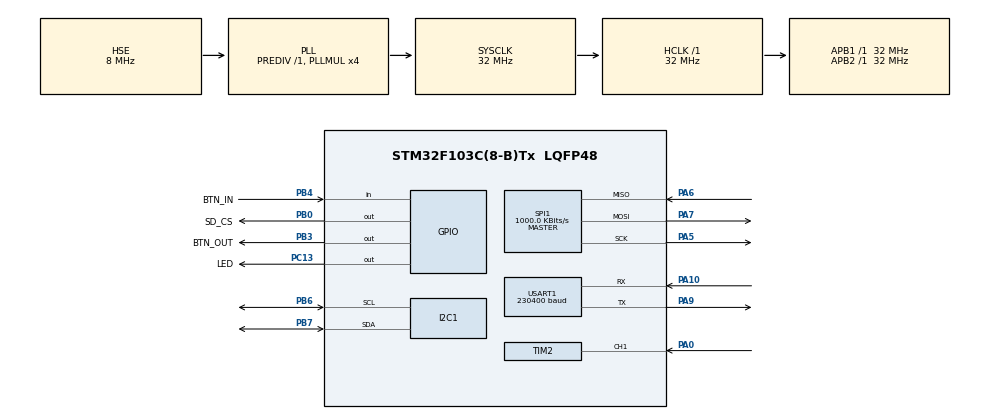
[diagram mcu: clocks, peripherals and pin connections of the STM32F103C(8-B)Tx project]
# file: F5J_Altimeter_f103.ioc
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Dma.Request0=USART1_TX
Dma.USART1_TX.0.Direction=DMA_MEMORY_TO_PERIPH
Dma.USART1_TX.0.Instance=DMA1_Channel4
Dma.USART1_TX.0.MemDataAlignment=DMA_MDATAALIGN_BYTE
Dma.USART1_TX.0.MemInc=DMA_MINC_ENABLE
Dma.USART1_TX.0.Mode=DMA_NORMAL
Dma.USART1_TX.0.PeriphDataAlignment=DMA_PDATAALIGN_BYTE
Dma.USART1_TX.0.PeriphInc=DMA_PINC_DISABLE
Dma.USART1_TX.0.Priority=DMA_PRIORITY_LOW
FATFS._MAX_SS=4096
FATFS._USE_LFN=1
I2C1.I2C_Mode=I2C_Fast
Mcu.Family=STM32F1
Mcu.Name=STM32F103C(8-B)Tx
Mcu.Package=LQFP48
NVIC.DMA1_Channel4_IRQn=true\:0\:0\:false\:false\:true\:false
NVIC.PriorityGroup=NVIC_PRIORITYGROUP_4
NVIC.TIM1_UP_IRQn=true\:0\:0\:false\:false\:true\:true
NVIC.TIM2_IRQn=true\:0\:0\:false\:false\:true\:true
NVIC.USART1_IRQn=true\:0\:0\:false\:false\:true\:true
PA0-WKUP.Signal=S_TIM2_CH1_ETR
PA10.Mode=Asynchronous
PA10.Signal=USART1_RX
PA13.Mode=Serial_Wire
PA13.Signal=SYS_JTMS-SWDIO
PA14.Mode=Serial_Wire
PA14.Signal=SYS_JTCK-SWCLK
PA5.Mode=Full_Duplex_Master
PA5.Signal=SPI1_SCK
PA6.Mode=Full_Duplex_Master
PA6.Signal=SPI1_MISO
PA7.Mode=Full_Duplex_Master
PA7.Signal=SPI1_MOSI
PA9.Mode=Asynchronous
PA9.Signal=USART1_TX
PB0.GPIO_Label=SD_CS
PB0.Signal=GPIO_Output
PB3.GPIO_Label=BTN_OUT
PB3.Signal=GPIO_Output
PB4.GPIO_Label=BTN_IN
PB4.Signal=GPIO_Input
PB6.Mode=I2C
PB6.Signal=I2C1_SCL
PB7.Mode=I2C
PB7.Signal=I2C1_SDA
PC13-TAMPER-RTC.GPIO_Label=LED
PC13-TAMPER-RTC.Signal=GPIO_Output
PD0-OSC_IN.Mode=HSE-External-Oscillator
PD0-OSC_IN.Signal=RCC_OSC_IN
PD1-OSC_OUT.Mode=HSE-External-Oscillator
PD1-OSC_OUT.Signal=RCC_OSC_OUT
ProjectManager.HeapSize=0x200
ProjectManager.StackSize=0x400
ProjectManager.TargetToolchain=MDK-ARM V5
RCC.AHBFreq_Value=32000000
RCC.APB1Freq_Value=32000000
RCC.APB1TimFreq_Value=32000000
RCC.APB2Freq_Value=32000000
RCC.APB2TimFreq_Value=32000000
RCC.HCLKFreq_Value=32000000
RCC.PLLMUL=RCC_PLL_MUL4
RCC.PLLSourceVirtual=RCC_PLLSOURCE_HSE
RCC.SYSCLKFreq_VALUE=32000000
RCC.SYSCLKSource=RCC_SYSCLKSOURCE_PLLCLK
RCC.USBFreq_Value=32000000
SH.S_TIM2_CH1_ETR.0=TIM2_CH1,Input_Capture1_from_TI1
SH.S_TIM2_CH1_ETR.1=TIM2_CH1,Input_Capture2_from_TI1
SPI1.BaudRatePrescaler=SPI_BAUDRATEPRESCALER_32
SPI1.CalculateBaudRate=1000.0 KBits/s
SPI1.Direction=SPI_DIRECTION_2LINES
SPI1.Mode=SPI_MODE_MASTER
SPI1.VirtualType=VM_MASTER
TIM1.Period=500
TIM1.Prescaler=31999
TIM2.Channel-Input_Capture1_from_TI1=TIM_CHANNEL_1
TIM2.Channel-Input_Capture2_from_TI1=TIM_CHANNEL_2
TIM2.ICPolarity_CH2=TIM_INPUTCHANNELPOLARITY_FALLING
TIM2.Period=65000
TIM2.Prescaler=31
USART1.BaudRate=230400
USART1.VirtualMode=VM_ASYNC
VP_FATFS_VS_Generic.Mode=User_defined
VP_TIM1_VS_ClockSourceINT.Mode=Internal
VP_TIM2_VS_ClockSourceINT.Mode=Internal
board=custom

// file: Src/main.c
/* USER CODE BEGIN Header */
/**
  ******************************************************************************
  * @file           : main.c
  * @brief          : Main program body
  ******************************************************************************
  * This notice applies to any and all portions of this file
  * that are not between comment pairs USER CODE BEGIN and
  * USER CODE END. Other portions of this file, whether
  * inserted by the user or by software development tools
  * are owned by their respective copyright owners.
  *
  * Copyright (c) 2019 STMicroelectronics International N.V.
  * All rights reserved.
  *
  * Redistribution and use in source and binary forms, with or without
  * modification, are permitted, provided that the following conditions are met:
  *
  * 1. Redistribution of source code must retain the above copyright notice,
  *    this list of conditions and the following disclaimer.
  * 2. Redistributions in binary form must reproduce the above copyright notice,
  *    this list of conditions and the following disclaimer in the documentation
  *    and/or other materials provided with the distribution.
  * 3. Neither the name of STMicroelectronics nor the names of other
  *    contributors to this software may be used to endorse or promote products
  *    derived from this software without specific written permission.
  * 4. This software, including modifications and/or derivative works of this
  *    software, must execute solely and exclusively on microcontroller or
  *    microprocessor devices manufactured by or for STMicroelectronics.
  * 5. Redistribution and use of this software other than as permitted under
  *    this license is void and will automatically terminate your rights under
  *    this license.
  *
  * THIS SOFTWARE IS PROVIDED BY STMICROELECTRONICS AND CONTRIBUTORS "AS IS"
  * AND ANY EXPRESS, IMPLIED OR STATUTORY WARRANTIES, INCLUDING, BUT NOT
  * LIMITED TO, THE IMPLIED WARRANTIES OF MERCHANTABILITY, FITNESS FOR A
  * PARTICULAR PURPOSE AND NON-INFRINGEMENT OF THIRD PARTY INTELLECTUAL PROPERTY
  * RIGHTS ARE DISCLAIMED TO THE FULLEST EXTENT PERMITTED BY LAW. IN NO EVENT
  * SHALL STMICROELECTRONICS OR CONTRIBUTORS BE LIABLE FOR ANY DIRECT, INDIRECT,
  * INCIDENTAL, SPECIAL, EXEMPLARY, OR CONSEQUENTIAL DAMAGES (INCLUDING, BUT NOT
  * LIMITED TO, PROCUREMENT OF SUBSTITUTE GOODS OR SERVICES; LOSS OF USE, DATA,
  * OR PROFITS; OR BUSINESS INTERRUPTION) HOWEVER CAUSED AND ON ANY THEORY OF
  * LIABILITY, WHETHER IN CONTRACT, STRICT LIABILITY, OR TORT (INCLUDING
  * NEGLIGENCE OR OTHERWISE) ARISING IN ANY WAY OUT OF THE USE OF THIS SOFTWARE,
  * EVEN IF ADVISED OF THE POSSIBILITY OF SUCH DAMAGE.
  *
  ******************************************************************************
  */
/* USER CODE END Header */

#include "main.h"
#include "fatfs.h"

/* USER CODE BEGIN Includes */
#include "BMP085.h"
#include "iflash.h"

/* USER CODE END Includes */

/* USER CODE BEGIN PD */
#define LED_ON  HAL_GPIO_WritePin(LED_GPIO_Port, LED_Pin, GPIO_PIN_RESET)
#define LED_OFF HAL_GPIO_WritePin(LED_GPIO_Port, LED_Pin, GPIO_PIN_SET)
#define LED_TOG HAL_GPIO_TogglePin(LED_GPIO_Port, LED_Pin)
/* USER CODE END PD */

I2C_HandleTypeDef hi2c1;

SPI_HandleTypeDef hspi1;

TIM_HandleTypeDef htim1;
TIM_HandleTypeDef htim2;

UART_HandleTypeDef huart1;
DMA_HandleTypeDef hdma_usart1_tx;

/* USER CODE BEGIN PV */
float t, p, gndAltitude, altitude;
uint16_t TimeFlight = 0, EnginePower = 0;
uint8_t Record = 0;
char str1[60] = {0}, FileName[20] = {0};

//==========sd================

FATFS fs;
FATFS *pfs;
FIL fil;
FRESULT fres;
DWORD fre_clust;
uint32_t total, freee;
char buffer[100];

/* USER CODE END PV */

void SystemClock_Config(void);
static void MX_GPIO_Init(void);
static void MX_DMA_Init(void);
static void MX_TIM1_Init(void);
static void MX_USART1_UART_Init(void);
static void MX_SPI1_Init(void);
static void MX_I2C1_Init(void);
static void MX_TIM2_Init(void);
/* USER CODE BEGIN PFP */
void writeString(char* fileName, char* string); // Запись строки в конец файла
void readFileToUart(char* fileName); //Транслирование содержимого файла в uart
void StartRecord(char* fileName); // Запись первой строки в новый файл
void StopRecord(char* fileName); // Запись последней строки в новый файл

/* USER CODE END PFP */

int main(void)
{
  /* USER CODE BEGIN 1 */
	//uint16_t i;
  /* USER CODE END 1 */

  /* MCU Configuration--------------------------------------------------------*/

  /* Reset of all peripherals, Initializes the Flash interface and the Systick. */
  HAL_Init();

  /* Configure the system clock */
  SystemClock_Config();

  /* Initialize all configured peripherals */
  MX_GPIO_Init();
  MX_DMA_Init();
  MX_TIM1_Init();
  MX_USART1_UART_Init();
  MX_SPI1_Init();
  MX_I2C1_Init();
  MX_FATFS_Init();
  MX_TIM2_Init();
  /* USER CODE BEGIN 2 */

	LED_OFF;
	while(!BMP085_testConnection()) {
		LED_TOG;
	};
	LED_OFF;
  BMP085_initialize();
	HAL_Delay(10);
	gndAltitude = GroundAltitude(); // нулевая высота.

//	if (Internal_Flash_Read(FLASH_FIRSTSTART) != 5) {
//		Internal_Flash_Write(5, FLASH_FIRSTSTART);
//		Internal_Flash_Write(0, FLASH_FNUMB);
//	}
//
	//StartRecord("test.txt");

  /* USER CODE END 2 */

  /* Infinite loop */
  while (1)
  {

    /* USER CODE BEGIN 3 */
		//HAL_GPIO_TogglePin(LED_GPIO_Port, LED_Pin);

		BMP085_setControl(BMP085_MODE_TEMPERATURE);
    HAL_Delay(BMP085_getMeasureDelayMilliseconds(BMP085_MODE_TEMPERATURE));
    t = BMP085_getTemperatureC();

		BMP085_setControl(BMP085_MODE_PRESSURE_3);
		HAL_Delay(BMP085_getMeasureDelayMilliseconds(BMP085_MODE_PRESSURE_3));
		p = BMP085_getPressure();

		altitude = (0.1 * (BMP085_getAltitude(p, 101325) - gndAltitude)) + ((1 - 0.1) * altitude);

//		HAL_GPIO_TogglePin(BTN_OUT_GPIO_Port, BTN_OUT_Pin);

		// ======================== Показать записанное ========================

		if (HAL_GPIO_ReadPin(BTN_IN_GPIO_Port, BTN_IN_Pin) == GPIO_PIN_RESET) {
			HAL_Delay(500);

			if (Record == 0) {
				//================== file name =================
				Internal_Flash_Write(Internal_Flash_Read(FLASH_FNUMB)+1, FLASH_FNUMB); // чтение порядкого номера для имени лога
				sprintf(FileName,"flight%d.json", Internal_Flash_Read(FLASH_FNUMB));
				StartRecord(FileName);
			} else if (Record == 1) {
				StopRecord(FileName);
			}
		}

		// ======================== Показать записанное ========================

  }
  /* USER CODE END 3 */
}

void SystemClock_Config(void)
{
  RCC_OscInitTypeDef RCC_OscInitStruct = {0};
  RCC_ClkInitTypeDef RCC_ClkInitStruct = {0};

  /**Initializes the CPU, AHB and APB busses clocks
  */
  RCC_OscInitStruct.OscillatorType = RCC_OSCILLATORTYPE_HSE;
  RCC_OscInitStruct.HSEState = RCC_HSE_ON;
  RCC_OscInitStruct.HSEPredivValue = RCC_HSE_PREDIV_DIV1;
  RCC_OscInitStruct.HSIState = RCC_HSI_ON;
  RCC_OscInitStruct.PLL.PLLState = RCC_PLL_ON;
  RCC_OscInitStruct.PLL.PLLSource = RCC_PLLSOURCE_HSE;
  RCC_OscInitStruct.PLL.PLLMUL = RCC_PLL_MUL4;
  if (HAL_RCC_OscConfig(&RCC_OscInitStruct) != HAL_OK)
  {
    Error_Handler();
  }
  /**Initializes the CPU, AHB and APB busses clocks
  */
  RCC_ClkInitStruct.ClockType = RCC_CLOCKTYPE_HCLK|RCC_CLOCKTYPE_SYSCLK
                              |RCC_CLOCKTYPE_PCLK1|RCC_CLOCKTYPE_PCLK2;
  RCC_ClkInitStruct.SYSCLKSource = RCC_SYSCLKSOURCE_PLLCLK;
  RCC_ClkInitStruct.AHBCLKDivider = RCC_SYSCLK_DIV1;
  RCC_ClkInitStruct.APB1CLKDivider = RCC_HCLK_DIV1;
  RCC_ClkInitStruct.APB2CLKDivider = RCC_HCLK_DIV1;

  if (HAL_RCC_ClockConfig(&RCC_ClkInitStruct, FLASH_LATENCY_1) != HAL_OK)
  {
    Error_Handler();
  }
}

static void MX_I2C1_Init(void)
{

  hi2c1.Instance = I2C1;
  hi2c1.Init.ClockSpeed = 400000;
  hi2c1.Init.DutyCycle = I2C_DUTYCYCLE_2;
  hi2c1.Init.OwnAddress1 = 0;
  hi2c1.Init.AddressingMode = I2C_ADDRESSINGMODE_7BIT;
  hi2c1.Init.DualAddressMode = I2C_DUALADDRESS_DISABLE;
  hi2c1.Init.OwnAddress2 = 0;
  hi2c1.Init.GeneralCallMode = I2C_GENERALCALL_DISABLE;
  hi2c1.Init.NoStretchMode = I2C_NOSTRETCH_DISABLE;
  if (HAL_I2C_Init(&hi2c1) != HAL_OK)
  {
    Error_Handler();
  }

}

static void MX_SPI1_Init(void)
{

  /* SPI1 parameter configuration*/
  hspi1.Instance = SPI1;
  hspi1.Init.Mode = SPI_MODE_MASTER;
  hspi1.Init.Direction = SPI_DIRECTION_2LINES;
  hspi1.Init.DataSize = SPI_DATASIZE_8BIT;
  hspi1.Init.CLKPolarity = SPI_POLARITY_LOW;
  hspi1.Init.CLKPhase = SPI_PHASE_1EDGE;
  hspi1.Init.NSS = SPI_NSS_SOFT;
  hspi1.Init.BaudRatePrescaler = SPI_BAUDRATEPRESCALER_32;
  hspi1.Init.FirstBit = SPI_FIRSTBIT_MSB;
  hspi1.Init.TIMode = SPI_TIMODE_DISABLE;
  hspi1.Init.CRCCalculation = SPI_CRCCALCULATION_DISABLE;
  hspi1.Init.CRCPolynomial = 10;
  if (HAL_SPI_Init(&hspi1) != HAL_OK)
  {
    Error_Handler();
  }

}

static void MX_TIM1_Init(void)
{

  TIM_ClockConfigTypeDef sClockSourceConfig = {0};
  TIM_MasterConfigTypeDef sMasterConfig = {0};

  htim1.Instance = TIM1;
  htim1.Init.Prescaler = 31999;
  htim1.Init.CounterMode = TIM_COUNTERMODE_UP;
  htim1.Init.Period = 1000;
  htim1.Init.ClockDivision = TIM_CLOCKDIVISION_DIV1;
  htim1.Init.RepetitionCounter = 0;
  htim1.Init.AutoReloadPreload = TIM_AUTORELOAD_PRELOAD_DISABLE;
  if (HAL_TIM_Base_Init(&htim1) != HAL_OK)
  {
    Error_Handler();
  }
  sClockSourceConfig.ClockSource = TIM_CLOCKSOURCE_INTERNAL;
  if (HAL_TIM_ConfigClockSource(&htim1, &sClockSourceConfig) != HAL_OK)
  {
    Error_Handler();
  }
  sMasterConfig.MasterOutputTrigger = TIM_TRGO_RESET;
  sMasterConfig.MasterSlaveMode = TIM_MASTERSLAVEMODE_DISABLE;
  if (HAL_TIMEx_MasterConfigSynchronization(&htim1, &sMasterConfig) != HAL_OK)
  {
    Error_Handler();
  }

}

static void MX_TIM2_Init(void)
{

  TIM_ClockConfigTypeDef sClockSourceConfig = {0};
  TIM_MasterConfigTypeDef sMasterConfig = {0};
  TIM_IC_InitTypeDef sConfigIC = {0};

  htim2.Instance = TIM2;
  htim2.Init.Prescaler = 31;
  htim2.Init.CounterMode = TIM_COUNTERMODE_UP;
  htim2.Init.Period = 65000;
  htim2.Init.ClockDivision = TIM_CLOCKDIVISION_DIV1;
  htim2.Init.AutoReloadPreload = TIM_AUTORELOAD_PRELOAD_DISABLE;
  if (HAL_TIM_Base_Init(&htim2) != HAL_OK)
  {
    Error_Handler();
  }
  sClockSourceConfig.ClockSource = TIM_CLOCKSOURCE_INTERNAL;
  if (HAL_TIM_ConfigClockSource(&htim2, &sClockSourceConfig) != HAL_OK)
  {
    Error_Handler();
  }
  if (HAL_TIM_IC_Init(&htim2) != HAL_OK)
  {
    Error_Handler();
  }
  sMasterConfig.MasterOutputTrigger = TIM_TRGO_RESET;
  sMasterConfig.MasterSlaveMode = TIM_MASTERSLAVEMODE_DISABLE;
  if (HAL_TIMEx_MasterConfigSynchronization(&htim2, &sMasterConfig) != HAL_OK)
  {
    Error_Handler();
  }
  sConfigIC.ICPolarity = TIM_INPUTCHANNELPOLARITY_RISING;
  sConfigIC.ICSelection = TIM_ICSELECTION_DIRECTTI;
  sConfigIC.ICPrescaler = TIM_ICPSC_DIV1;
  sConfigIC.ICFilter = 0;
  if (HAL_TIM_IC_ConfigChannel(&htim2, &sConfigIC, TIM_CHANNEL_1) != HAL_OK)
  {
    Error_Handler();
  }
  sConfigIC.ICPolarity = TIM_INPUTCHANNELPOLARITY_FALLING;
  sConfigIC.ICSelection = TIM_ICSELECTION_INDIRECTTI;
  if (HAL_TIM_IC_ConfigChannel(&htim2, &sConfigIC, TIM_CHANNEL_2) != HAL_OK)
  {
    Error_Handler();
  }

}

static void MX_USART1_UART_Init(void)
{

  huart1.Instance = USART1;
  huart1.Init.BaudRate = 230400;
  huart1.Init.WordLength = UART_WORDLENGTH_8B;
  huart1.Init.StopBits = UART_STOPBITS_1;
  huart1.Init.Parity = UART_PARITY_NONE;
  huart1.Init.Mode = UART_MODE_TX_RX;
  huart1.Init.HwFlowCtl = UART_HWCONTROL_NONE;
  huart1.Init.OverSampling = UART_OVERSAMPLING_16;
  if (HAL_UART_Init(&huart1) != HAL_OK)
  {
    Error_Handler();
  }

}

static void MX_DMA_Init(void)
{
  /* DMA controller clock enable */
  __HAL_RCC_DMA1_CLK_ENABLE();

  /* DMA interrupt init */
  /* DMA1_Channel4_IRQn interrupt configuration */
  HAL_NVIC_SetPriority(DMA1_Channel4_IRQn, 0, 0);
  HAL_NVIC_EnableIRQ(DMA1_Channel4_IRQn);

}

static void MX_GPIO_Init(void)
{
  GPIO_InitTypeDef GPIO_InitStruct = {0};

  /* GPIO Ports Clock Enable */
  __HAL_RCC_GPIOC_CLK_ENABLE();
  __HAL_RCC_GPIOD_CLK_ENABLE();
  __HAL_RCC_GPIOA_CLK_ENABLE();
  __HAL_RCC_GPIOB_CLK_ENABLE();

  /*Configure GPIO pin Output Level */
  HAL_GPIO_WritePin(LED_GPIO_Port, LED_Pin, GPIO_PIN_RESET);

  /*Configure GPIO pin Output Level */
  HAL_GPIO_WritePin(GPIOB, SD_CS_Pin|BTN_OUT_Pin, GPIO_PIN_RESET);

  /*Configure GPIO pin : LED_Pin */
  GPIO_InitStruct.Pin = LED_Pin;
  GPIO_InitStruct.Mode = GPIO_MODE_OUTPUT_PP;
  GPIO_InitStruct.Pull = GPIO_NOPULL;
  GPIO_InitStruct.Speed = GPIO_SPEED_FREQ_LOW;
  HAL_GPIO_Init(LED_GPIO_Port, &GPIO_InitStruct);

  /*Configure GPIO pins : SD_CS_Pin BTN_OUT_Pin */
  GPIO_InitStruct.Pin = SD_CS_Pin|BTN_OUT_Pin;
  GPIO_InitStruct.Mode = GPIO_MODE_OUTPUT_PP;
  GPIO_InitStruct.Pull = GPIO_NOPULL;
  GPIO_InitStruct.Speed = GPIO_SPEED_FREQ_LOW;
  HAL_GPIO_Init(GPIOB, &GPIO_InitStruct);

  /*Configure GPIO pin : BTN_IN_Pin */
  GPIO_InitStruct.Pin = BTN_IN_Pin;
  GPIO_InitStruct.Mode = GPIO_MODE_INPUT;
  GPIO_InitStruct.Pull = GPIO_PULLUP;
  HAL_GPIO_Init(BTN_IN_GPIO_Port, &GPIO_InitStruct);

}

/* USER CODE BEGIN 4 */
void HAL_UART_RxCpltCallback(UART_HandleTypeDef *huart)
{
	HAL_GPIO_TogglePin(LED_GPIO_Port, LED_Pin);

	if (huart == &huart1){ // USB
		HAL_UART_RxCpltCallback(huart);
	}
}

void HAL_TIM_PeriodElapsedCallback(TIM_HandleTypeDef *htim){
	if (htim == &htim1) {

				// ======================== Запись данных раз в секунду ========================
		if (Record == 1) {
			LED_TOG;

			sprintf(str1,"{\"a\":%.2f,\"s\":%d,\"t\":%.2f,\"e\":%d},", altitude, TimeFlight, t, EnginePower);
			writeString(FileName, str1);

			TimeFlight++;
		}
		// ======================== Запись данных раз в секунду ========================

//		TimeFlight++;
	}

	//============================== Захват шим ================

}

void HAL_TIM_IC_CaptureCallback(TIM_HandleTypeDef *htim) // колбек по захвату
{
	if(htim == &htim2)
	{
		if(htim->Channel == HAL_TIM_ACTIVE_CHANNEL_1) // RISING с LOW на HIGH
		{
			__HAL_TIM_SET_COUNTER(&htim2, 0x0000); // обнуление счётчика
		}

		else if(htim->Channel == HAL_TIM_ACTIVE_CHANNEL_2) // FALLING с HIGH на LOW
		{
			uint32_t falling = HAL_TIM_ReadCapturedValue(&htim2, TIM_CHANNEL_2); // чтение значения в регистре захвата/сравнения
			EnginePower = falling;
		}

	}
}

void StartRecord(char* fileName) {
	TimeFlight = 0;

	/* Mount SD Card */
  if(f_mount(&fs, "", 0) != FR_OK)
    _Error_Handler(__FILE__, __LINE__);

		/* Open file to write */
	if(f_open(&fil, fileName, FA_OPEN_ALWAYS | FA_READ | FA_WRITE) != FR_OK)
		_Error_Handler(__FILE__, __LINE__);

	//=============== перемещение в конец файла =====================
	f_lseek(&fil, f_size(&fil));
	//=============== перемещение в конец файла =====================

	writeString(fileName, "[");
	HAL_TIM_Base_Start_IT(&htim1);

	HAL_TIM_IC_Start_IT(&htim2, TIM_CHANNEL_1);
  HAL_TIM_IC_Start_IT(&htim2, TIM_CHANNEL_2);

	Record = 1;
}
void StopRecord(char* fileName) {
	HAL_TIM_Base_Stop_IT(&htim1);

	LED_OFF;

	HAL_TIM_IC_Stop_IT(&htim2, TIM_CHANNEL_1);
  HAL_TIM_IC_Stop_IT(&htim2, TIM_CHANNEL_2);

	sprintf(str1,"{\"a\":%.2f,\"s\":%d,\"t\":%.2f,\"e\":%d}]", altitude, TimeFlight, t, EnginePower);
	writeString(fileName, str1);

	/* Close file */
	if(f_close(&fil) != FR_OK)
		_Error_Handler(__FILE__, __LINE__);

		/* Unmount SDCARD */
	if(f_mount(NULL, "", 1) != FR_OK)
		_Error_Handler(__FILE__, __LINE__);

	Record = 0;
}

void writeString(char* fileName, char* string) {
	f_puts(string, &fil);
}

void readFileToUart(char* fileName) {
	char strTMP[100] = {0};
	/* Mount SD Card */
  if(f_mount(&fs, "", 0) != FR_OK)
    _Error_Handler(__FILE__, __LINE__);

	/* Open file to read */
	if(f_open(&fil, fileName, FA_READ) != FR_OK)
		_Error_Handler(__FILE__, __LINE__);

	while(f_gets(buffer, sizeof(buffer), &fil))
	{
		//printf("%s", buffer);
		sprintf(strTMP,"%s", buffer);
		HAL_UART_Transmit(&huart1,(uint8_t*)strTMP,strlen(strTMP),0x1000);
	}

	/* Close file */
	if(f_close(&fil) != FR_OK)
		_Error_Handler(__FILE__, __LINE__);

	/* Unmount SDCARD */
	if(f_mount(NULL, "", 1) != FR_OK)
		_Error_Handler(__FILE__, __LINE__);
}

void _Error_Handler(char * file, int line)
{
  /* USER CODE BEGIN Error_Handler_Debug */
  /* User can add his own implementation to report the HAL error return state */

	while (1) {
		LED_TOG;
		HAL_Delay(300);
	}

  /* USER CODE END Error_Handler_Debug */
}

/* USER CODE END 4 */

//void Error_Handler(void)
//{
//  /* USER CODE BEGIN Error_Handler_Debug */
//  /* User can add his own implementation to report the HAL error return state */

//  /* USER CODE END Error_Handler_Debug */
//}

/************************ (C) COPYRIGHT STMicroelectronics *****END OF FILE****/
